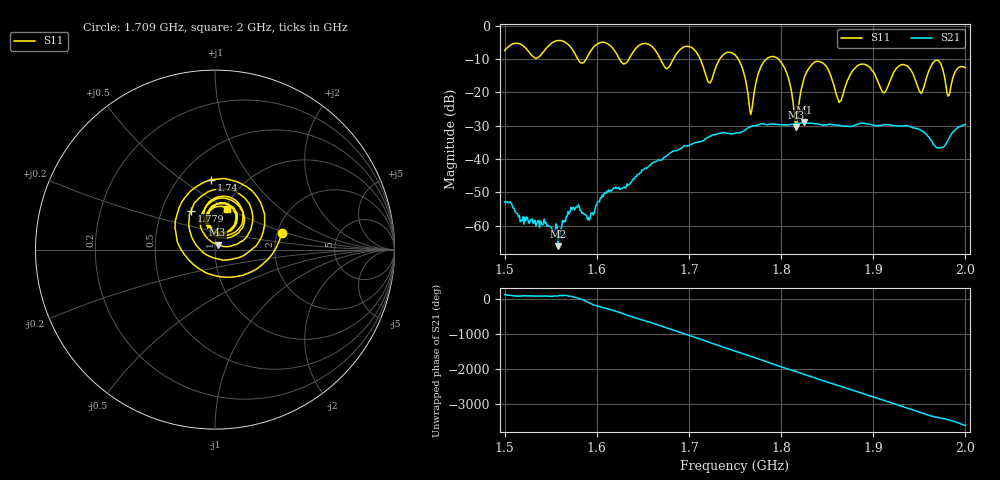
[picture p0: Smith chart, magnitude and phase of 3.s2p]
! NanoVNA-App by SYSJOINT et al v1.1.209 (+OD18)
! Date: 2026-01-21 14:16:05
! Start: 1,5GHz Stop: 2GHz Points: 501
! S-Parameter data: F S11 S21 S12 S22
# Hz S RI R 50
!  Frequency  S11_Real  S11_Imag  S21_Real  S21_Imag  S12_Real  S12_Imag  S22_Real  S22_Imag
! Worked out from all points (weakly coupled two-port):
!   501 points, 1.5 GHz to 2 GHz, reference 50 ohm
!   highest |S21| = -29.03 dB at 1.825 GHz (marker M1); lowest = -66.1 dB at 1.558 GHz (marker M2)
!   lowest |S11| = -30.4 dB at 1.816 GHz (marker M3), VSWR 1.06, Z = 51.4 + j2.75 ohm
!   |S11| at or under -10 dB: 1.712 GHz to 1.734 GHz (21.33 MHz wide, 1.24 % of centre); 1.753 GHz to 1.784 GHz (30.69 MHz wide, 1.73 % of centre); 1.797 GHz to end of sweep (the widest 3 of 6)
!   S12 and S22 are empty: the file has one direction only
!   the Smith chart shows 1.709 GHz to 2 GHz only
!   S11 on the Smith chart (normalised r, x): 1.709 GHz: 2.11, +0.46; 1.74 GHz: 0.71, +0.65; 1.779 GHz: 0.70, +0.33; 2 GHz: 1.03, +0.48
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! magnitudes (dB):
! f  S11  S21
! 1.5 GHz  -7.4  -52.8
! 1.558 GHz  -4.5  -66.1
! 1.584 GHz  -11.3  -56.3
! 1.667 GHz  -8.9  -40.2
! 1.709 GHz  -8.3  -35.0
! 1.722 GHz  -17.1  -33.3
! 1.74 GHz  -8.2  -32.2
! 1.75 GHz  -8.8  -32.2
! 1.767 GHz  -26.6  -30.3
! 1.779 GHz  -11.9  -29.5
! 1.801 GHz  -11.3  -29.8
! 1.816 GHz  -30.4  -29.5
! 1.825 GHz  -15.7  -29.0
! 1.834 GHz  -11.5  -29.3
! 1.863 GHz  -23.0  -29.9
! 1.886 GHz  -11.6  -29.3
! 1.917 GHz  -17.4  -29.8
! 1.934 GHz  -11.8  -30.0
! 1.952 GHz  -20.3  -31.4
! 1.971 GHz  -10.5  -36.7
! 1.982 GHz  -21.0  -33.9
! 2 GHz  -12.6  -29.6
